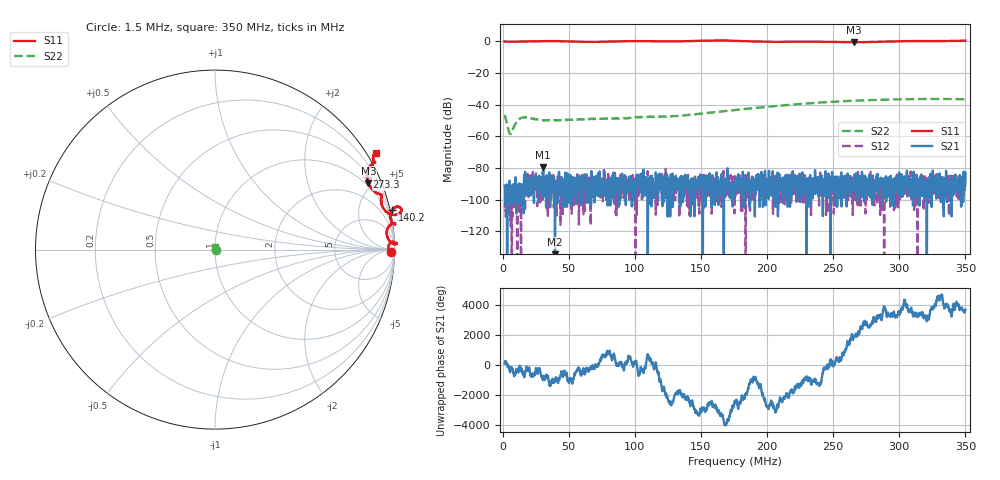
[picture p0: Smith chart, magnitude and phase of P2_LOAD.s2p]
# Hz S RI R 50
! RAW DATA - UNCALIBRATED
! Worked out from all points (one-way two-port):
!   1601 points, 1.5 MHz to 350 MHz, reference 50 ohm
!   highest |S21| = -79.64 dB at 30.69 MHz (marker M1); lowest = -186.3 dB at 39.62 MHz (marker M2)
!   lowest |S11| = -0.6 dB at 265.5 MHz (marker M3), VSWR 28.05, Z = 42.2 + j235 ohm
!   |S11| at or under -10 dB: nowhere
!   |S22| runs from -58.7 to -36.4 dB; largest |S21 - S12| = 0.00014
!   S11 on the Smith chart (normalised r, x): 1.5 MHz: 61, -44; 140.2 MHz: -0.47, +9.07; 273.3 MHz: 0.64, +4.34; 350 MHz: -0.31, +3.58
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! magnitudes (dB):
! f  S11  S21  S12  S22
! 1.5 MHz  -0.2  -91.3  -105.0  -46.5
! 2.589 MHz  -0.2  -93.1  -96.7  -49.7
! 4.549 MHz  -0.2  -96.1  -103.8  -56.4
! 5.421 MHz  -0.3  -102.1  -110.7  -58.3
! 6.074 MHz  -0.3  -103.0  -116.7  -58.6
! 7.163 MHz  -0.3  -96.9  -102.7  -56.8
! 9.341 MHz  -0.3  -94.2  -104.6  -52.6
! 10.87 MHz  -0.3  -90.5  -109.6  -50.6
! 14.35 MHz  -0.1  -92.7  -98.0  -48.4
! 17.84 MHz  0.0  -91.5  -91.6  -48.1
! 30.69 MHz  0.1  -79.6  -93.0  -49.9
! 39.62 MHz  0.1  -186.3  -88.4  -50.0
! 59.66 MHz  -0.3  -103.5  -98.6  -49.4
! 117.8 MHz  0.0  -85.4  -94.6  -47.7
! 140.2 MHz  0.1  -94.5  -84.4  -46.6
! 175.8 MHz  0.3  -98.1  -97.9  -43.4
! 200.6 MHz  -0.3  -96.7  -89.0  -41.4
! 233.9 MHz  -0.2  -91.9  -97.6  -39.1
! 265.5 MHz  -0.6  -93.1  -94.1  -37.6
! 273.3 MHz  -0.5  -101.3  -93.9  -37.3
! 292.1 MHz  -0.1  -92.2  -86.1  -36.9
! 350 MHz  0.4  -83.5  -82.2  -36.6
